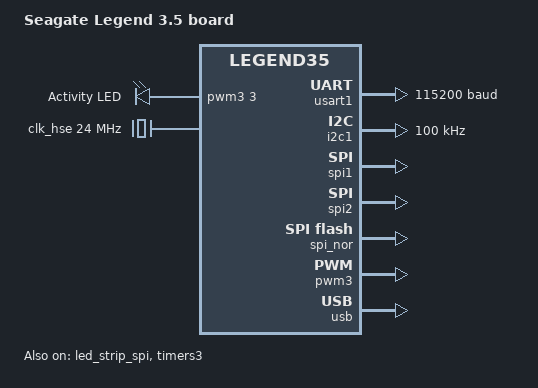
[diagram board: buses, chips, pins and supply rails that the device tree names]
/*
 * Copyright (c) 2021 Seagate Technology LLC
 *
 * SPDX-License-Identifier: Apache-2.0
 */

/dts-v1/;
#include <seagate/seagate_legend.dtsi>

/ {
	model = "Seagate Legend 3.5 board";
	compatible = "legend35", "seagate,legend35";

	chosen {
		zephyr,console = &usart1;
		zephyr,shell-uart = &usart1;
		zephyr,sram = &sram0;
		zephyr,flash = &flash0;
	};

	aliases {
		board-id = &board_id;
		pwm-led0 = &pwm_led0;
		led-strip = &led_strip_spi;
		watchdog0 = &iwdg;
	};

	led_pwm: pwmleds {
		compatible = "pwm-leds";
		label = "LED PWM";

		pwm_led0: pwm_led_0 {
			label = "Activity LED";
			pwms = <&pwm3 3 255 PWM_POLARITY_NORMAL>;
		};
	};
};

&clk_hse {
	clock-frequency = <DT_FREQ_M(24)>; /* STLink 8MHz clock */
	status = "okay";
};

&pll {
	clocks = <&clk_hse>;
	prediv = <1>;
	mul = <2>;
	status = "okay";
};

&rcc {
	clocks = <&pll>;
	clock-frequency = <DT_FREQ_M(48)>;
	ahb-prescaler = <1>;
	apb1-prescaler = <1>;
};

&usart1 {
	current-speed = <115200>;
	status = "okay";
};

&i2c1 {
	clock-frequency = <I2C_BITRATE_STANDARD>;
	status = "okay";
};

&spi1 {
	status = "okay";
};

&led_strip_spi {
	chain-length = <12>;
	status = "okay";
};

&spi2 {
	status = "okay";
};

&spi_nor {
	status = "okay";
};

&dma1 {
	status = "okay";
};

&timers3 {
	status = "okay";
};

&pwm3 {
	status = "okay";
};

&usb {
	status = "okay";
};
